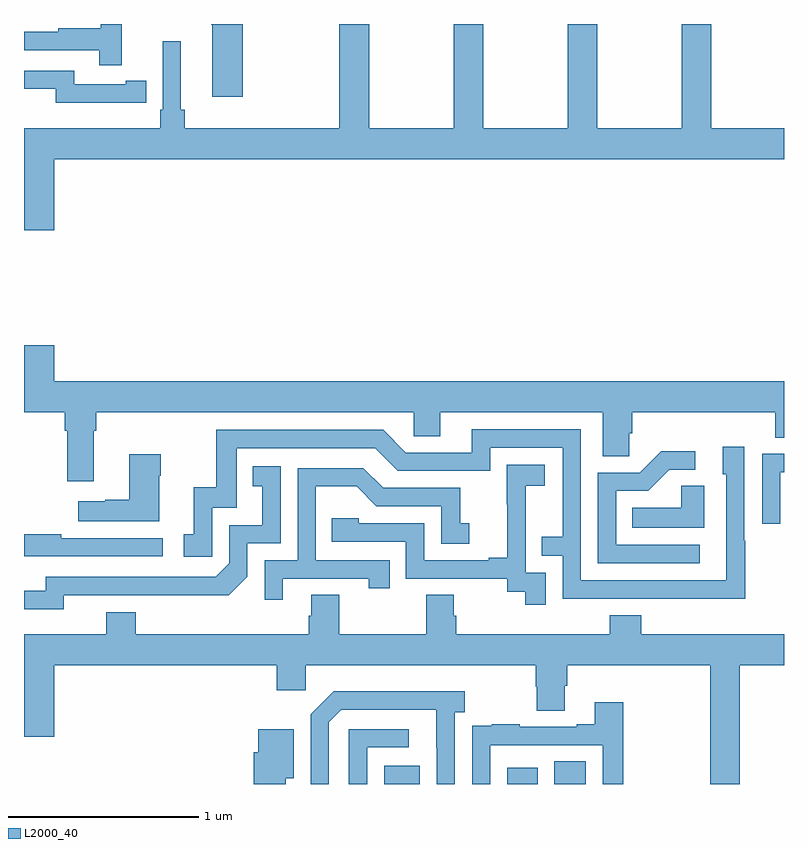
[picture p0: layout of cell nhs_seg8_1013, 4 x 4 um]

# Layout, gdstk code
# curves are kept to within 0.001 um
import gdstk
lib = gdstk.Library(unit=1e-6, precision=1e-09)
def R(c, l, rs):  # rectangles x0, y0, x1, y1
    for r in rs: c.add(gdstk.rectangle(r[:2], r[2:], *l))
def P(c, l, *ps):  # polygons
    for p in ps: c.add(gdstk.Polygon(p, *l))
L2000_40 = (2000, 40)

nhs_seg8_1013 = lib.new_cell('nhs_seg8_1013')
R(nhs_seg8_1013, L2000_40, [(178.895,1091.9,179.083,1091.995), (179.543,1091.9,179.704,1091.986), (179.792,1091.9,179.956,1092.02)])
P(nhs_seg8_1013, L2000_40, [(181,1095.352),(180.618,1095.352),(180.618,1095.9),(180.463,1095.9),(180.463,1095.352),(180.018,1095.352),(180.018,1095.9),(179.863,1095.9),(179.863,1095.352),(179.418,1095.352),(179.418,1095.9),(179.263,1095.9),(179.263,1095.352),(178.818,1095.352),(178.818,1095.9),(178.658,1095.9),(178.658,1095.352),(177.845,1095.352),(177.845,1095.448),(177.826,1095.448),(177.826,1095.808),(177.729,1095.808),(177.729,1095.448),(177.716,1095.448),(177.716,1095.352),(177,1095.352),(177,1094.814),(177.16,1094.814),(177.16,1095.188),(181,1095.188)],
  [(178.151,1095.9),(177.985,1095.9),(177.985,1095.895),(177.992,1095.895),(177.992,1095.516),(178.151,1095.516)],
  [(177.515,1095.9),(177.405,1095.9),(177.405,1095.878),(177.181,1095.878),(177.181,1095.858),(177,1095.858),(177,1095.762),(177.397,1095.762),(177.397,1095.684),(177.515,1095.684)],
  [(177.536,1095.486),(177.644,1095.486),(177.644,1095.602),(177.536,1095.602),(177.536,1095.582),(177.264,1095.582),(177.264,1095.654),(177,1095.654),(177,1095.558),(177.168,1095.558),(177.168,1095.485),(177.536,1095.485)],
  [(177.16,1094.209),(177,1094.209),(177,1093.856),(177.215,1093.856),(177.215,1093.76),(177.227,1093.76),(177.227,1093.494),(177.367,1093.494),(177.367,1093.76),(177.38,1093.76),(177.38,1093.856),(179.052,1093.856),(179.052,1093.729),(179.191,1093.729),(179.191,1093.856),(180.047,1093.856),(180.047,1093.624),(180.186,1093.624),(180.186,1093.747),(180.2,1093.747),(180.2,1093.856),(180.953,1093.856),(180.953,1093.723),(181,1093.723),(181,1094.02),(177.16,1094.02)],
  [(180.795,1093.181),(180.792,1093.181),(180.792,1093.675),(180.677,1093.675),(180.677,1093.53),(180.696,1093.53),(180.696,1092.972),(179.931,1092.972),(179.931,1093.767),(179.357,1093.767),(179.357,1093.644),(179.01,1093.644),(178.89,1093.764),(178.011,1093.764),(178.011,1093.462),(177.893,1093.462),(177.893,1093.215),(177.84,1093.215),(177.84,1093.095),(177.99,1093.095),(177.99,1093.353),(178.119,1093.353),(178.119,1093.668),(178.848,1093.668),(178.968,1093.548),(179.454,1093.548),(179.454,1093.671),(179.835,1093.671),(179.835,1093.202),(179.725,1093.202),(179.725,1093.101),(179.835,1093.101),(179.835,1092.876),(180.795,1092.875)],
  [(180.556,1093.158),(180.117,1093.158),(180.117,1093.443),(180.286,1093.443),(180.397,1093.554),(180.532,1093.554),(180.532,1093.652),(180.353,1093.652),(180.24,1093.539),(180.021,1093.539),(180.021,1093.062),(180.556,1093.062)],
  [(180.981,1093.542),(181,1093.542),(181,1093.638),(180.885,1093.638),(180.885,1093.269),(180.981,1093.269)],
  [(177.712,1093.523),(177.72,1093.523),(177.72,1093.636),(177.554,1093.636),(177.554,1093.397),(177.428,1093.397),(177.428,1093.387),(177.285,1093.387),(177.285,1093.283),(177.712,1093.283)],
  [(179.745,1093.011),(179.64,1093.011),(179.64,1093.241),(179.642,1093.241),(179.642,1093.469),(179.74,1093.469),(179.74,1093.579),(179.542,1093.579),(179.542,1093.373),(179.543,1093.373),(179.543,1093.09),(179.447,1093.09),(179.447,1093.077),(179.106,1093.077),(179.106,1093.272),(178.761,1093.272),(178.761,1093.299),(178.621,1093.299),(178.621,1093.176),(179.01,1093.176),(179.01,1092.981),(179.544,1092.981),(179.544,1092.913),(179.637,1092.913),(179.637,1092.843),(179.745,1092.843)],
  [(177.21,1092.894),(178.078,1092.893),(178.176,1092.99),(178.176,1093.167),(178.35,1093.167),(178.35,1093.573),(178.204,1093.573),(178.204,1093.467),(178.253,1093.467),(178.253,1093.263),(178.08,1093.263),(178.08,1093.062),(178.008,1092.99),(177.114,1092.99),(177.114,1092.918),(177,1092.918),(177,1092.821),(177.21,1092.821)],
  [(178.363,1092.981),(178.814,1092.981),(178.814,1092.93),(178.925,1092.93),(178.925,1093.077),(178.536,1093.077),(178.536,1093.466),(178.75,1093.466),(178.854,1093.362),(179.196,1093.362),(179.196,1093.164),(179.344,1093.164),(179.344,1093.273),(179.295,1093.273),(179.295,1093.458),(178.891,1093.458),(178.786,1093.563),(178.44,1093.563),(178.44,1093.077),(178.266,1093.077),(178.266,1092.87),(178.363,1092.87)],
  [(180.58,1093.469),(180.459,1093.469),(180.459,1093.354),(180.202,1093.354),(180.202,1093.25),(180.58,1093.25)],
  [(177.73,1093.194),(177.197,1093.194),(177.197,1093.214),(177,1093.214),(177,1093.098),(177.73,1093.098)],
  [(180.768,1092.524),(181,1092.524),(181,1092.688),(180.248,1092.688),(180.248,1092.787),(180.083,1092.787),(180.083,1092.688),(179.276,1092.688),(179.276,1092.786),(179.263,1092.786),(179.263,1092.896),(179.116,1092.896),(179.116,1092.688),(178.659,1092.688),(178.659,1092.896),(178.511,1092.896),(178.511,1092.786),(178.499,1092.786),(178.499,1092.688),(177.587,1092.688),(177.587,1092.805),(177.434,1092.805),(177.434,1092.688),(177,1092.688),(177,1092.15),(177.16,1092.15),(177.16,1092.524),(178.331,1092.524),(178.331,1092.393),(178.482,1092.393),(178.482,1092.524),(179.693,1092.524),(179.693,1092.411),(179.698,1092.411),(179.698,1092.286),(179.845,1092.286),(179.845,1092.418),(179.858,1092.418),(179.858,1092.524),(180.613,1092.524),(180.613,1091.9),(180.768,1091.9)],
  [(178.605,1092.225),(178.671,1092.291),(179.171,1092.291),(179.172,1091.9),(179.268,1091.9),(179.268,1092.278),(179.32,1092.278),(179.32,1092.388),(178.63,1092.388),(178.509,1092.267),(178.509,1091.9),(178.605,1091.9)],
  [(179.454,1092.105),(180.045,1092.105),(180.045,1091.9),(180.154,1091.9),(180.154,1092.331),(180.005,1092.331),(180.005,1092.214),(179.909,1092.214),(179.909,1092.201),(179.609,1092.201),(179.609,1092.214),(179.461,1092.214),(179.461,1092.207),(179.359,1092.207),(179.359,1092.098),(179.358,1092.098),(179.358,1091.9),(179.454,1091.9)],
  [(178.806,1092.093),(179.026,1092.093),(179.026,1092.189),(178.71,1092.189),(178.71,1091.9),(178.806,1091.9)],
  [(178.378,1091.93),(178.42,1091.93),(178.42,1092.187),(178.232,1092.187),(178.232,1092.066),(178.208,1092.066),(178.208,1091.9),(178.378,1091.9)])

lib.write_gds('nhs_seg8_1013.gds')
